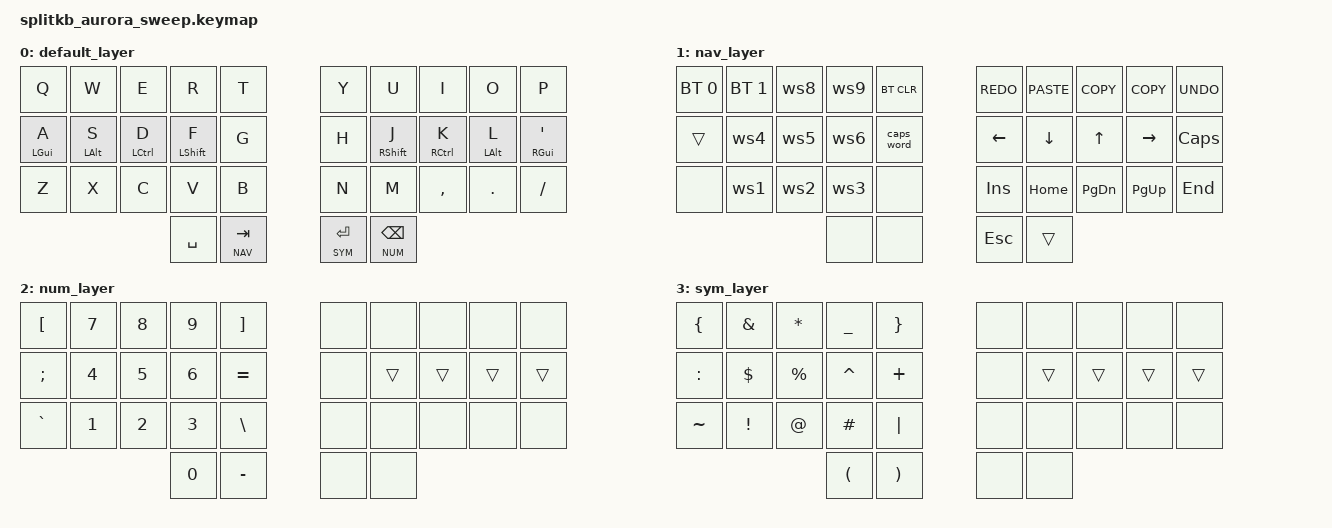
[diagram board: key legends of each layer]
/*
 * Copyright (c) 2022 The ZMK Contributors
 *
 * SPDX-License-Identifier: MIT
 */

#include <behaviors.dtsi>
#include <dt-bindings/zmk/keys.h>
#include <dt-bindings/zmk/bt.h>

#define BASE 0
#define NAV 1
#define NUM 2
#define SYM 3

&mt {
    flavor = "balanced";
    tapping-term-ms = <280>;
    quick-tap-ms = <175>;                // repeat on tap-into-hold
    require-prior-idle-ms = <150>;
    bindings = <&kp>, <&kp>;
};

&caps_word {
    continue-list = <UNDERSCORE MINUS BACKSPACE DELETE>;
};

#define WS(_num_) \
 ws##_num_: ws##_num_ { \
        compatible = "zmk,behavior-macro";  \
        bindings                            \
            = <&macro_press &kp LALT>       \
            , <&macro_tap &kp N##_num_>           \
            , <&macro_release &kp LALT>     \
            ;                               \
        #binding-cells = <0>;               \
      };                                         

/ {

    macros {
      WS(1)
      WS(2)
      WS(3)
      WS(4)
      WS(5)
      WS(6)
      WS(7)
      WS(8)
      WS(9)
    };

    combos {
        compatible = "zmk,combos";
        combo_esc {
            timeout-ms = <50>;
            key-positions = <0 1>;
            bindings = <&kp ESC>;
        };

         combo_tab {
            timeout-ms = <50>;
            key-positions = <10 11>;
            bindings = <&kp TAB>;
        };

        combo_ralt {
            timeout-ms = <50>;
            key-positions = <17 16>;
            bindings = <&kp RALT>;
        };

        combo_lalt {
            timeout-ms = <50>;
            key-positions = <11 12>;
            bindings = <&kp LALT>;
        };

        combo_lgui {
            timeout-ms = <50>;
            key-positions = <12 13>;
            bindings = <&kp LGUI>;
        };


       combo_rgui {
            timeout-ms = <50>;
            key-positions = <17 18>;
            bindings = <&kp RGUI>;
        };
    };

    keymap {
        compatible = "zmk,keymap";

        default_layer {
            bindings = <
&kp Q           &kp W           &kp E               &kp R             &kp T          &kp Y        &kp U              &kp I                &kp O           &kp P
&mt LEFT_GUI A  &mt LEFT_ALT S  &mt LEFT_CONTROL D  &mt LEFT_SHIFT F  &kp G          &kp H        &mt RIGHT_SHIFT J  &mt RIGHT_CONTROL K  &mt LEFT_ALT L  &mt RIGHT_GUI SQT
&kp Z           &kp X           &kp C               &kp V             &kp B          &kp N        &kp M              &kp CMMA             &kp DOT         &kp SLASH
                                                    &kp SPACE         &lt NAV TAB    &lt SYM RET  &lt NUM BSPC
            >;
        };

        nav_layer {
            bindings = <
&bt BT_SEL 0  &bt BT_SEL 1        &ws8        &ws9  &bt BT_CLR    &kp K_REDO  &kp K_PASTE  &kp K_COPY  &kp K_COPY  &kp K_UNDO
&trans        &ws4        &ws5        &ws6  &caps_word    &kp LEFT    &kp DOWN     &kp UP      &kp RIGHT   &kp CAPS
&none         &ws1        &ws2        &ws3  &none         &kp INS     &kp HOME     &kp PG_DN   &kp PG_UP   &kp END
                                      &none &none         &kp ESCAPE  &trans
            >;
        };

        num_layer {
            bindings = <
&kp LBKT   &kp N7  &kp N8  &kp N9  &kp RBKT     &none  &none   &none   &none   &none
&kp SEMI   &kp N4  &kp N5  &kp N6  &kp EQUAL    &none  &trans  &trans  &trans  &trans
&kp GRAVE  &kp N1  &kp N2  &kp N3  &kp BSLH     &none  &none   &none   &none   &none
                           &kp N0  &kp MINUS    &none  &none
            >;
        };

        sym_layer {
            bindings = <
&kp LBRC   &kp AMPS  &kp STAR   &kp UNDERSCORE  &kp RBRC    &none  &none   &none   &none   &none
&kp COLON  &kp DLLR  &kp PRCNT  &kp CARET       &kp PLUS    &none  &trans  &trans  &trans  &trans
&kp TILDE  &kp EXCL  &kp AT     &kp HASH        &kp PIPE    &none  &none   &none   &none   &none
                                &kp LPAR        &kp RPAR    &none  &none
            >;
        };
    };
};



